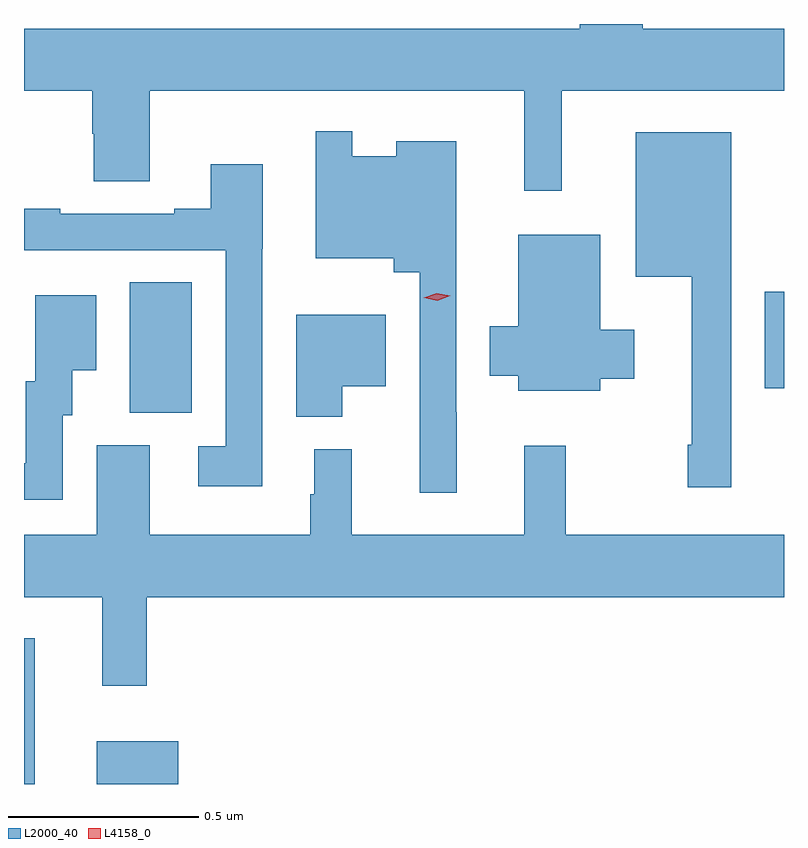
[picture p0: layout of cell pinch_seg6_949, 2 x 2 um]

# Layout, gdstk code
import gdstk
lib = gdstk.Library(unit=1e-6, precision=1e-09)
def R(c, l, rs):  # rectangles x0, y0, x1, y1
    for r in rs: c.add(gdstk.rectangle(r[:2], r[2:], *l))
def P(c, l, *ps):  # polygons
    for p in ps: c.add(gdstk.Polygon(p, *l))
L2000_40 = (2000, 40)
L4158_0 = (4158, 0)

pinch_seg6_949 = lib.new_cell('pinch_seg6_949')
R(pinch_seg6_949, L2000_40, [(243.894,930.86,243.922,931.243), (244.085,930.86,244.3,930.973), (244.172,931.837,244.336,932.18), (245.843,931.901,245.894,932.155)])
P(pinch_seg6_949, L2000_40, [(245.309,932.684),(245.894,932.684),(245.894,932.848),(245.522,932.848),(245.522,932.86),(245.357,932.86),(245.357,932.848),(243.894,932.848),(243.894,932.684),(244.073,932.684),(244.073,932.571),(244.078,932.571),(244.078,932.446),(244.225,932.446),(244.225,932.684),(245.21,932.684),(245.21,932.421),(245.309,932.421)],
  [(245.033,931.838),(245.031,931.838),(245.031,932.211),(245.032,932.211),(245.032,932.551),(244.874,932.551),(244.874,932.512),(244.758,932.512),(244.758,932.578),(244.662,932.578),(244.662,932.243),(244.867,932.243),(244.867,932.207),(244.935,932.207),(244.935,931.626),(245.033,931.626)],
  [(245.755,932.575),(245.504,932.575),(245.504,932.195),(245.651,932.195),(245.651,931.753),(245.641,931.753),(245.641,931.641),(245.755,931.641)],
  [(244.521,932.268),(244.522,932.268),(244.522,932.491),(244.385,932.491),(244.385,932.374),(244.289,932.374),(244.289,932.361),(243.989,932.361),(243.989,932.374),(243.894,932.374),(243.894,932.265),(244.425,932.265),(244.425,931.749),(244.353,931.749),(244.353,931.644),(244.521,931.644)],
  [(245.41,931.927),(245.5,931.927),(245.5,932.056),(245.41,932.056),(245.41,932.305),(245.195,932.305),(245.195,932.064),(245.12,932.064),(245.12,931.934),(245.195,931.934),(245.195,931.895),(245.41,931.895)],
  [(243.996,931.83),(244.021,931.83),(244.021,931.949),(244.084,931.949),(244.084,932.146),(243.923,932.146),(243.923,931.92),(243.899,931.92),(243.899,931.704),(243.894,931.704),(243.894,931.608),(243.996,931.608)],
  [(244.732,931.907),(244.846,931.907),(244.846,932.095),(244.61,932.095),(244.61,931.826),(244.732,931.826)],
  [(244.217,931.352),(245.894,931.352),(245.894,931.516),(245.32,931.516),(245.32,931.75),(245.21,931.75),(245.21,931.516),(244.757,931.516),(244.757,931.741),(244.658,931.741),(244.658,931.623),(244.647,931.623),(244.647,931.516),(244.225,931.516),(244.225,931.752),(244.085,931.752),(244.085,931.516),(243.894,931.516),(243.894,931.352),(244.1,931.352),(244.1,931.119),(244.217,931.119)])
P(pinch_seg6_949, L4158_0, [(244.982,932.132),(244.946,932.139),(244.946,932.139),(244.946,932.14),(244.98,932.152),(245.016,932.145),(245.016,932.145),(245.016,932.145)])

lib.write_gds('pinch_seg6_949.gds')
